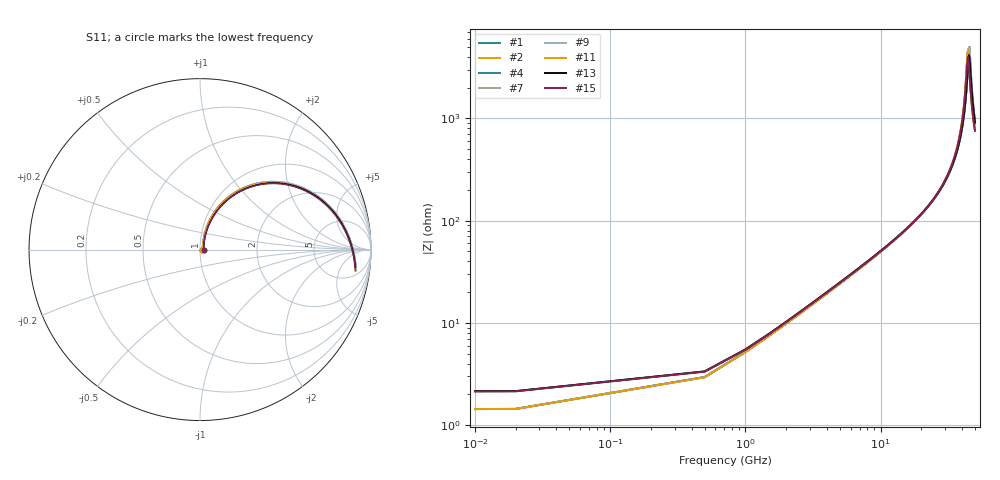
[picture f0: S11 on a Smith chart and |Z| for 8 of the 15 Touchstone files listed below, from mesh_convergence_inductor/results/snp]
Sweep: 10 MHz to 50 GHz
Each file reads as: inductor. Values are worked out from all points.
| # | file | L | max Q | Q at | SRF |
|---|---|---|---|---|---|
| 1 | ind_frame_amr2_final.s2p | 777 pH | 18.5 | 16 GHz | 45 GHz |
| 2 | ind_frame_amr2_iter1.s2p | 767 pH | 17.7 | 15.5 GHz | 44 GHz |
| 3 | ind_frame_amr2_iter2.s2p | 776 pH | 18.1 | 16 GHz | 44.5 GHz |
| 4 | ind_frame_filled_mesh2.s2p | 788 pH | 13.2 | 18 GHz | 45 GHz |
| 5 | ind_frame_mesh1.s2p | 777 pH | 18.5 | 16 GHz | 45 GHz |
| 6 | ind_frame_mesh1_order1.s2p | 732 pH | 17 | 15.5 GHz | 43.5 GHz |
| 7 | ind_frame_mesh2.s2p | 775 pH | 18.3 | 16 GHz | 45 GHz |
| 8 | ind_frame_mesh2_order1.s2p | 718 pH | 16.2 | 15 GHz | 42.5 GHz |
| 9 | ind_frame_mesh3.s2p | 774 pH | 18.1 | 16 GHz | 44.5 GHz |
| 10 | ind_frame_mesh3_order1.s2p | 707 pH | 15.7 | 15 GHz | 41.5 GHz |
| 11 | ind_frame_mesh5.s2p | 765 pH | 17.6 | 15.5 GHz | 44 GHz |
| 12 | ind_frame_skin_mesh1.s2p | 790 pH | 14.1 | 19 GHz | 45 GHz |
| 13 | ind_frame_skin_mesh2.s2p | 788 pH | 13.8 | 18.5 GHz | 45 GHz |
| 14 | ind_frame_skin_mesh3.s2p | 787 pH | 13.8 | 19 GHz | 44.5 GHz |
| 15 | ind_frame_skin_mesh5.s2p | 782 pH | 13.6 | 18.5 GHz | 44 GHz |
